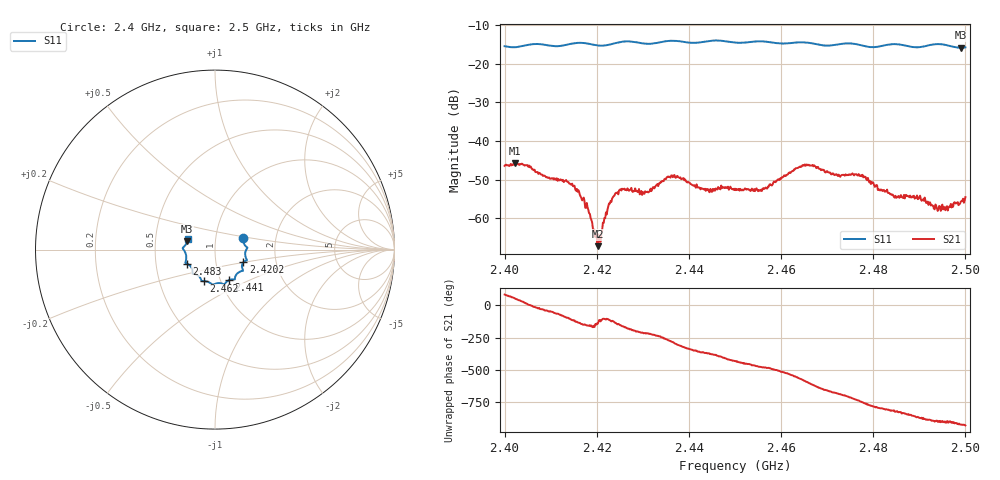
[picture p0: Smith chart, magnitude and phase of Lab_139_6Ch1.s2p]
# Hz S RI R 50
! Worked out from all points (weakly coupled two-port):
!   601 points, 2.4 GHz to 2.5 GHz, reference 50 ohm
!   highest |S21| = -45.78 dB at 2.4022 GHz (marker M1); lowest = -67.2 dB at 2.4202 GHz (marker M2)
!   lowest |S11| = -15.8 dB at 2.499 GHz (marker M3), VSWR 1.39, Z = 36.5 + j3.47 ohm
!   |S11| at or under -10 dB: start of sweep to end of sweep
!   S12 and S22 are empty: the file has one direction only
!   S11 on the Smith chart (normalised r, x): 2.4 GHz: 1.36, +0.18; 2.4202 GHz: 1.36, -0.20; 2.441 GHz: 1.10, -0.39; 2.462 GHz: 0.84, -0.30; 2.483 GHz: 0.72, -0.11; 2.5 GHz: 0.73, +0.09
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2.4e9  0.1572 0.0627  0.000461 0.00475  0 0  0 0
2.402167e9  0.16 0.0369  0.00286 0.00427  0 0  0 0
2.413667e9  0.172 -0.0458  -0.000251 -0.00296  0 0  0 0
2.416667e9  0.1776 -0.0594  -0.00147 -0.00108  0 0  0 0
2.420167e9  0.1584 -0.0708  -0.000349 -0.000261  0 0  0 0
2.420667e9  0.1553 -0.0745  -0.000192 -0.000455  0 0  0 0
2.422833e9  0.15 -0.0957  -0.000616 -0.00142  0 0  0 0
2.4245e9  0.1537 -0.1097  -0.0018 -0.00122  0 0  0 0
2.430333e9  0.133 -0.1258  -0.00171 0.00117  0 0  0 0
2.433333e9  0.1128 -0.1508  -0.0015 0.00214  0 0  0 0
2.436333e9  0.1105 -0.1661  0.000699 0.00354  0 0  0 0
2.441e9  0.0786 -0.1699  0.00259 0.000542  0 0  0 0
2.45e9  0.0285 -0.1868  0.000836 -0.00227  0 0  0 0
2.4555e9  -0.0127 -0.1956  -0.00094 -0.00207  0 0  0 0
2.462e9  -0.0604 -0.1756  -0.00384 -0.000382  0 0  0 0
2.466667e9  -0.0773 -0.1679  -0.00156 0.00458  0 0  0 0
2.477833e9  -0.1257 -0.1165  0.00289 -0.00178  0 0  0 0
2.483e9  -0.1585 -0.0775  0.00024 -0.00234  0 0  0 0
2.483333e9  -0.1605 -0.0767  0.00017 -0.00212  0 0  0 0
2.493667e9  -0.18 0.00656  -0.00142 -0.000226  0 0  0 0
2.499e9  -0.1548 0.0463  -0.00153 0.00059  0 0  0 0
2.5e9  -0.1519 0.0611  -0.00167 0.000869  0 0  0 0
